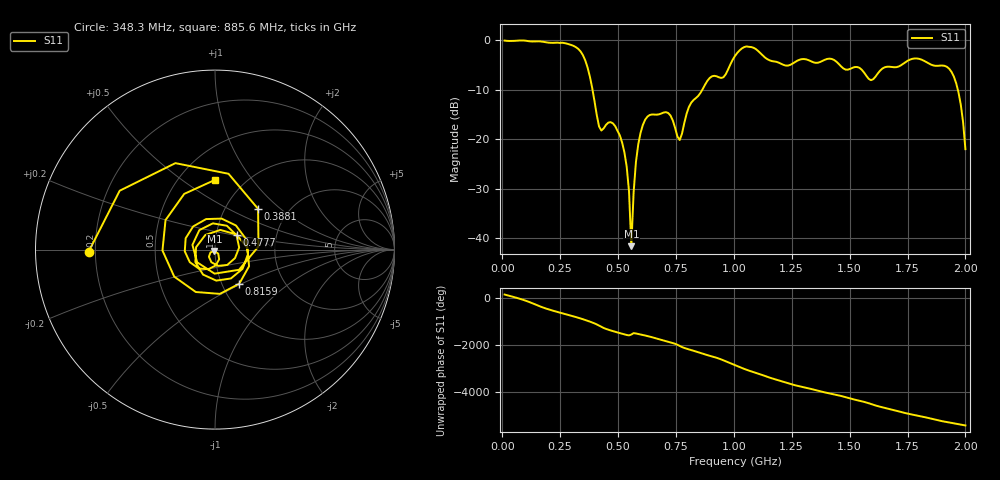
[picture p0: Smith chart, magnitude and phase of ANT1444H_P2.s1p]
!Created with skrf (http://scikit-rf.org).
# Hz S RI R 50.0
!freq ReS11 ImS11
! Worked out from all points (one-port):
!   201 points, 10 MHz to 2 GHz, reference 50 ohm
!   lowest |S11| = -41.6 dB at 557.2 MHz (marker M1), VSWR 1.02, Z = 49.7 - j0.762 ohm
!   |S11| at or under -10 dB: 389.5 MHz to 864.1 MHz (474.6 MHz wide, 75.7 % of centre); 1.967 GHz to end of sweep
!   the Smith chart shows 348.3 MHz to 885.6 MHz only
!   S11 on the Smith chart (normalised r, x): 348.3 MHz: 0.17, -0.01; 388.1 MHz: 1.42, +0.72; 477.6 MHz: 1.25, +0.21; 816 MHz: 1.21, -0.48; 885.6 MHz: 0.74, +0.67
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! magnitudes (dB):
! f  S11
! 10 MHz  -0.1
! 258.8 MHz  -0.5
! 348.3 MHz  -3.0
! 388.1 MHz  -9.6
! 427.9 MHz  -18.3
! 477.6 MHz  -16.8
! 507.5 MHz  -19.2
! 537.4 MHz  -25.6
! 547.3 MHz  -30.6
! 557.2 MHz  -41.6
! 567.2 MHz  -30.7
! 577.1 MHz  -24.6
! 607 MHz  -17.1
! 706.5 MHz  -14.6
! 756.2 MHz  -19.5
! 766.2 MHz  -20.2
! 816 MHz  -12.6
! 885.6 MHz  -8.2
! 955.2 MHz  -7.5
! 1.005 GHz  -3.2
! 1.075 GHz  -1.4
! 1.254 GHz  -4.7
! 1.502 GHz  -5.8
! 1.592 GHz  -8.1
! 1.751 GHz  -4.2
! 1.94 GHz  -6.4
! 1.98 GHz  -13.1
! 2 GHz  -22.0
